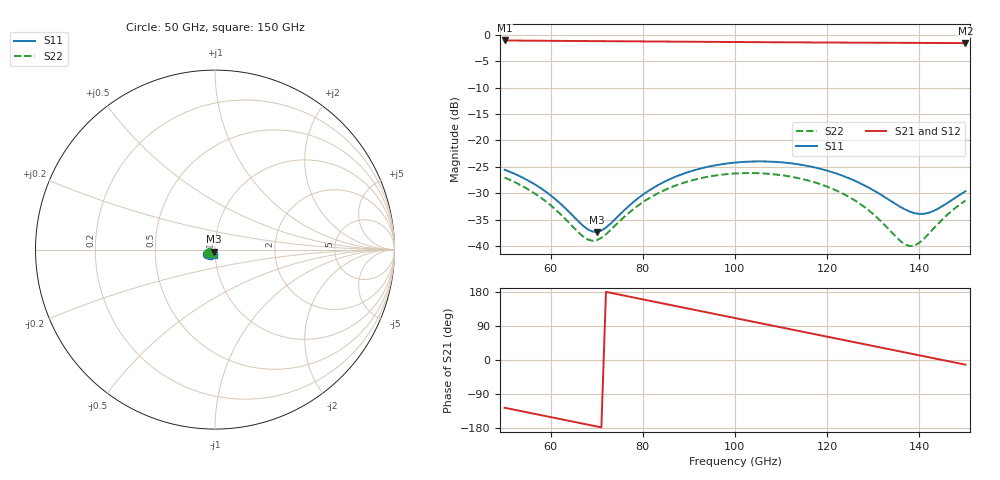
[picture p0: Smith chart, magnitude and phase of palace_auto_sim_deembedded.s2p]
! Created with skrf 1.11.0 (http://scikit-rf.org).
# GHz S DB R 50.0
!freq dBS11 angS11 dBS21 angS21 dBS12 angS12 dBS22 angS22
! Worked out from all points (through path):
!   101 points, 50 GHz to 150 GHz, reference 50 ohm
!   highest |S21| = -1.09 dB at 50 GHz (marker M1); lowest = -1.6 dB at 150 GHz (marker M2)
!   group delay of S21, straight-line fit = 6.84 ps
!   lowest |S11| = -37.3 dB at 70 GHz (marker M3), VSWR 1.03, Z = 49.2 - j1.11 ohm
!   |S11| at or under -10 dB: start of sweep to end of sweep
!   |S22| runs from -40.0 to -26.2 dB; largest |S21 - S12| = 9.9e-14
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50  -25.53 -150.3  -1.09 -126.0  -1.09 -126.0  -27.01 -157.6
55  -27.53 -159.8  -1.13 -138.4  -1.13 -138.4  -29.19 -168.3
59  -29.73 -164.6  -1.15 -148.2  -1.15 -148.2  -31.56 -173.7
67  -36.10 -149.4  -1.20 -168.0  -1.20 -168.0  -38.14 -156.7
69  -37.21 -133.6  -1.21 -172.9  -1.21 -172.9  -38.96 -140.1
70  -37.30 -124.3  -1.22 -175.4  -1.22 -175.4  -38.85 -131.1
72  -36.47 -107.4  -1.23 179.7  -1.23 179.7  -37.73 -116.2
77  -32.36 -89.0  -1.26 167.4  -1.26 167.4  -33.66 -102.7
84  -28.11 -91.4  -1.30 150.1  -1.30 150.1  -29.68 -108.8
92  -25.43 -104.0  -1.34 130.4  -1.34 130.4  -27.25 -124.5
100  -24.18 -119.0  -1.39 110.7  -1.39 110.7  -26.24 -142.5
108  -24.02 -134.1  -1.43 91.0  -1.43 91.0  -26.36 -160.7
117  -25.05 -149.6  -1.47 68.9  -1.47 68.9  -27.85 180.0
122  -26.25 -156.6  -1.49 56.6  -1.49 56.6  -29.46 170.8
126  -27.62 -160.4  -1.50 46.8  -1.50 46.8  -31.33 165.3
130  -29.40 -161.3  -1.52 37.0  -1.52 37.0  -33.92 163.5
134  -31.54 -156.7  -1.53 27.1  -1.53 27.1  -37.37 171.4
137  -33.09 -147.1  -1.54 19.7  -1.54 19.7  -39.71 -168.3
139  -33.76 -137.3  -1.55 14.8  -1.55 14.8  -39.86 -148.5
143  -33.36 -115.3  -1.57 5.0  -1.57 5.0  -36.74 -122.1
147  -31.30 -101.5  -1.58 -4.9  -1.58 -4.9  -33.34 -116.3
150  -29.61 -97.5  -1.59 -12.3  -1.59 -12.3  -31.36 -117.8
